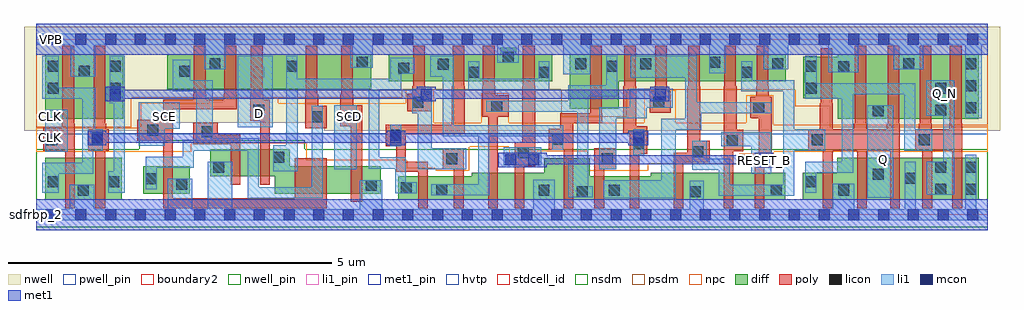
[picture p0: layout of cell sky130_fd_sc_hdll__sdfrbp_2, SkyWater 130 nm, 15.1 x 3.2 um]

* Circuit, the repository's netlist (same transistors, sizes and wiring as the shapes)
* Copyright 2020 The SkyWater PDK Authors
*
* Licensed under the Apache License, Version 2.0 (the "License");
* you may not use this file except in compliance with the License.
* You may obtain a copy of the License at
*
*     https://www.apache.org/licenses/LICENSE-2.0
*
* Unless required by applicable law or agreed to in writing, software
* distributed under the License is distributed on an "AS IS" BASIS,
* WITHOUT WARRANTIES OR CONDITIONS OF ANY KIND, either express or implied.
* See the License for the specific language governing permissions and
* limitations under the License.
*
* SPDX-License-Identifier: Apache-2.0

.SUBCKT sky130_fd_sc_hdll__sdfrbp_2 CLK D RESET_B SCD SCE VGND VNB VPB VPWR Q Q_N
*.PININFO CLK:I D:I RESET_B:I SCD:I SCE:I VGND:I VNB:I VPB:I VPWR:I
*.PININFO Q:O Q_N:O
MI642 clkneg CLK VGND VNB sky130_fd_pr__nfet_01v8 m=1 w=0.65U l=0.15U mult=1 sa=0.265
+ sb=0.265 sd=0.28 area=0.063 perim=1.14
MI636 clkpos clkneg VGND VNB sky130_fd_pr__nfet_01v8 m=1 w=0.65U l=0.15U mult=1
+ sa=0.265 sb=0.265 sd=0.28 area=0.063 perim=1.14
MI42 db clkneg M0 VNB sky130_fd_pr__nfet_01v8 m=1 w=0.36U l=0.15U mult=1 sa=0.265
+ sb=0.265 sd=0.28 area=0.063 perim=1.14
MI656 net92 S0 net134 VNB sky130_fd_pr__nfet_01v8 m=1 w=0.42U l=0.15U mult=1 sa=0.265
+ sb=0.265 sd=0.28 area=0.063 perim=1.14
MI657 net134 RESET_B VGND VNB sky130_fd_pr__nfet_01v8 m=1 w=0.42U l=0.15U mult=1
+ sa=0.265 sb=0.265 sd=0.28 area=0.063 perim=1.14
MI33 net127 RESET_B VGND VNB sky130_fd_pr__nfet_01v8 m=1 w=0.42U l=0.15U mult=1
+ sa=0.265 sb=0.265 sd=0.28 area=0.063 perim=1.14
MI634 sceb SCE VGND VNB sky130_fd_pr__nfet_01v8 m=1 w=0.42U l=0.15U mult=1 sa=0.265
+ sb=0.265 sd=0.28 area=0.063 perim=1.14
MI4 M0 clkpos net115 VNB sky130_fd_pr__nfet_01v8 m=1 w=0.36U l=0.15U mult=1 sa=0.265
+ sb=0.265 sd=0.28 area=0.063 perim=1.14
MI34 net115 M1 net127 VNB sky130_fd_pr__nfet_01v8 m=1 w=0.42U l=0.15U mult=1 sa=0.265
+ sb=0.265 sd=0.28 area=0.063 perim=1.14
MI655 S0 clkneg net103 VNB sky130_fd_pr__nfet_01v8 m=1 w=0.36U l=0.15U mult=1 sa=0.265
+ sb=0.265 sd=0.28 area=0.063 perim=1.14
MI652 Q net92 VGND VNB sky130_fd_pr__nfet_01v8 m=2 w=0.65U l=0.15U mult=1 sa=0.265
+ sb=0.265 sd=0.28 area=0.063 perim=1.14
MI654 net103 net92 VGND VNB sky130_fd_pr__nfet_01v8 m=1 w=0.42U l=0.15U mult=1
+ sa=0.265 sb=0.265 sd=0.28 area=0.063 perim=1.14
MI647 M1 M0 VGND VNB sky130_fd_pr__nfet_01v8 m=1 w=0.64U l=0.15U mult=1 sa=0.265
+ sb=0.265 sd=0.28 area=0.063 perim=1.14
MI649 M1 clkpos S0 VNB sky130_fd_pr__nfet_01v8 m=1 w=0.36U l=0.15U mult=1 sa=0.265
+ sb=0.265 sd=0.28 area=0.063 perim=1.14
MI672 net171 net92 VGND VNB sky130_fd_pr__nfet_01v8 m=1 w=0.42U l=0.15U mult=1
+ sa=0.265 sb=0.265 sd=0.28 area=0.063 perim=1.14
MI670 Q_N net171 VGND VNB sky130_fd_pr__nfet_01v8 m=2 w=0.65U l=0.15U mult=1 sa=0.265
+ sb=0.265 sd=0.28 area=0.063 perim=1.14
MI98 db D n0 VNB sky130_fd_pr__nfet_01v8 m=1 w=0.42U l=0.15U mult=1 sa=0.265 sb=0.265
+ sd=0.28 area=0.525 perim=3.1
MI103 n1 SCD VGND VNB sky130_fd_pr__nfet_01v8 m=1 w=0.42U l=0.18U mult=1 sa=0.265
+ sb=0.265 sd=0.28 area=0.525 perim=3.1
MI120 db SCE n1 VNB sky130_fd_pr__nfet_01v8 m=1 w=0.42U l=0.5U mult=1 sa=0.265
+ sb=0.265 sd=0.28 area=0.525 perim=3.1
MI104 n0 sceb VGND VNB sky130_fd_pr__nfet_01v8 m=1 w=0.42U l=0.15U mult=1 sa=0.265
+ sb=0.265 sd=0.28 area=0.525 perim=3.1
MI643 clkneg CLK VPWR VPB sky130_fd_pr__pfet_01v8_hvt m=1 w=1.0U l=0.18U mult=1
+ sa=0.265 sb=0.265 sd=0.28 area=0.063 perim=1.14
MI635 clkpos clkneg VPWR VPB sky130_fd_pr__pfet_01v8_hvt m=1 w=1.0U l=0.18U mult=1
+ sa=0.265 sb=0.265 sd=0.28 area=0.063 perim=1.14
MI43 db clkpos M0 VPB sky130_fd_pr__pfet_01v8_hvt m=1 w=0.42U l=0.18U mult=1 sa=0.265
+ sb=0.265 sd=0.28 area=0.063 perim=1.14
MI662 net215 net92 VPWR VPB sky130_fd_pr__pfet_01v8_hvt m=1 w=0.42U l=0.18U mult=1
+ sa=0.265 sb=0.265 sd=0.28 area=0.063 perim=1.14
MI659 net92 RESET_B VPWR VPB sky130_fd_pr__pfet_01v8_hvt m=1 w=0.42U l=0.18U mult=1
+ sa=0.265 sb=0.265 sd=0.28 area=0.063 perim=1.14
MI664 S0 clkpos net215 VPB sky130_fd_pr__pfet_01v8_hvt m=1 w=0.42U l=0.18U mult=1
+ sa=0.265 sb=0.265 sd=0.28 area=0.063 perim=1.14
MI658 net92 S0 VPWR VPB sky130_fd_pr__pfet_01v8_hvt m=1 w=0.42U l=0.18U mult=1
+ sa=0.265 sb=0.265 sd=0.28 area=0.063 perim=1.14
MI30 net194 M1 VPWR VPB sky130_fd_pr__pfet_01v8_hvt m=1 w=0.42U l=0.18U mult=1
+ sa=0.265 sb=0.265 sd=0.28 area=0.063 perim=1.14
MI31 M0 clkneg net194 VPB sky130_fd_pr__pfet_01v8_hvt m=1 w=0.42U l=0.18U mult=1
+ sa=0.265 sb=0.265 sd=0.28 area=0.063 perim=1.14
MI32 net194 RESET_B VPWR VPB sky130_fd_pr__pfet_01v8_hvt m=1 w=0.42U l=0.18U mult=1
+ sa=0.265 sb=0.265 sd=0.28 area=0.063 perim=1.14
MI663 Q net92 VPWR VPB sky130_fd_pr__pfet_01v8_hvt m=2 w=1.0U l=0.18U mult=1 sa=0.265
+ sb=0.265 sd=0.28 area=0.063 perim=1.14
MI648 M1 M0 VPWR VPB sky130_fd_pr__pfet_01v8_hvt m=1 w=0.84U l=0.18U mult=1 sa=0.265
+ sb=0.265 sd=0.28 area=0.063 perim=1.14
MI650 M1 clkneg S0 VPB sky130_fd_pr__pfet_01v8_hvt m=1 w=0.42U l=0.18U mult=1 sa=0.265
+ sb=0.265 sd=0.28 area=0.063 perim=1.14
MI633 sceb SCE VPWR VPB sky130_fd_pr__pfet_01v8_hvt m=1 w=0.54U l=0.18U mult=1
+ sa=0.265 sb=0.265 sd=0.28 area=0.063 perim=1.14
MI673 net171 net92 VPWR VPB sky130_fd_pr__pfet_01v8_hvt m=1 w=0.64U l=0.18U mult=1
+ sa=0.265 sb=0.265 sd=0.28 area=0.063 perim=1.14
MI671 Q_N net171 VPWR VPB sky130_fd_pr__pfet_01v8_hvt m=2 w=1.0U l=0.18U mult=1
+ sa=0.265 sb=0.265 sd=0.28 area=0.063 perim=1.14
MI101 db sceb p1 VPB sky130_fd_pr__pfet_01v8_hvt m=1 w=0.54U l=0.18U mult=1 sa=0.265
+ sb=0.265 sd=0.28 area=0.063 perim=1.14
MI107 p0 SCE VPWR VPB sky130_fd_pr__pfet_01v8_hvt m=1 w=0.54U l=0.18U mult=1 sa=0.265
+ sb=0.265 sd=0.28 area=0.063 perim=1.14
MI94 db D p0 VPB sky130_fd_pr__pfet_01v8_hvt m=1 w=0.54U l=0.18U mult=1 sa=0.265
+ sb=0.265 sd=0.28 area=0.063 perim=1.14
MI108 p1 SCD VPWR VPB sky130_fd_pr__pfet_01v8_hvt m=1 w=0.54U l=0.18U mult=1 sa=0.265
+ sb=0.265 sd=0.28 area=0.063 perim=1.14
.ENDS sky130_fd_sc_hdll__sdfrbp_2

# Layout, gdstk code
import gdstk
lib = gdstk.Library(unit=1e-6, precision=1e-09)
def R(c, l, rs):  # rectangles x0, y0, x1, y1
    for r in rs: c.add(gdstk.rectangle(r[:2], r[2:], *l))
def A(c, l, x, y, w, h, nx, ny, dx, dy):  # array of equal rectangles
    R(c, l, [(x+i*dx, y+j*dy, x+i*dx+w, y+j*dy+h) for i in range(nx) for j in range(ny)])
def P(c, l, *ps):  # polygons
    for p in ps: c.add(gdstk.Polygon(p, *l))
nwell_pin = (64, 16)
nwell = (64, 20)
diff = (65, 20)
poly = (66, 20)
licon = (66, 44)
li1_pin = (67, 16)
li1 = (67, 20)
mcon = (67, 44)
met1_pin = (68, 16)
met1 = (68, 20)
hvtp = (78, 44)
stdcell_id = (81, 4)
nsdm = (93, 44)
psdm = (94, 20)
npc = (95, 20)
pwell_pin = (122, 16)
boundary2 = (236, 0)

sky130_fd_sc_hdll__sdfrb = lib.new_cell('sky130_fd_sc_hdll__sdfrbp_2')
R(sky130_fd_sc_hdll__sdfrb, nwell_pin, [(0.17,2.64,0.315,2.78)])
P(sky130_fd_sc_hdll__sdfrb, nwell, [(14.91,2.91),(-0.19,2.91),(-0.19,1.305),(2.12,1.305),(2.12,1.425),(4.455,1.425),(4.455,1.305),(14.91,1.305)])
R(sky130_fd_sc_hdll__sdfrb, diff, [(0.135,0.235,1.325,0.885), (1.655,0.33,2.375,0.75), (0.135,1.485,1.345,2.485), (2.03,1.945,5.185,2.485)])
P(sky130_fd_sc_hdll__sdfrb, diff, [(14.585,2.485),(12.4,2.485),(12.4,2.445),(11.865,2.445),(11.865,1.805),(12.4,1.805),(12.4,1.485),(14.585,1.485)],
  [(11.59,0.655),(9.505,0.655),(9.505,0.595),(8.56,0.595),(8.56,0.875),(7.86,0.875),(7.86,0.655),(6.74,0.655),(6.74,0.595),(5.6,0.595),(5.6,0.235),(11.59,0.235)],
  [(14.585,0.885),(12.395,0.885),(12.395,0.655),(11.86,0.655),(11.86,0.235),(14.585,0.235)],
  [(11.595,2.485),(8.25,2.485),(8.25,1.645),(9.01,1.645),(9.01,2.065),(11.595,2.065)],
  [(5.33,0.75),(3.92,0.75),(3.92,1.015),(2.695,1.015),(2.695,0.595),(3.69,0.595),(3.69,0.33),(5.33,0.33)],
  [(7.98,2.485),(7.425,2.485),(7.425,2.585),(7.175,2.585),(7.175,2.485),(5.455,2.485),(5.455,2.065),(7.98,2.065)])
P(sky130_fd_sc_hdll__sdfrb, poly, [(0.595,1.41),(0.585,1.41),(0.585,2.615),(0.405,2.615),(0.405,1.41),(0.395,1.41),(0.395,1.345),(0.105,1.345),(0.105,0.995),(0.445,0.995),(0.445,0.105),(0.595,0.105)],
  [(1.125,1.325),(1.08,1.325),(1.08,1.41),(1.07,1.41),(1.07,2.615),(0.89,2.615),(0.89,1.41),(0.88,1.41),(0.88,1.325),(0.805,1.325),(0.805,0.995),(0.915,0.995),(0.915,0.105),(1.065,0.105),(1.065,0.995),(1.125,0.995)],
  [(3.155,1.24),(2.81,1.24),(2.81,1.425),(2.43,1.425),(2.43,1.09),(3.005,1.09),(3.005,0.465),(3.155,0.465)],
  [(3.615,1.785),(3.51,1.785),(3.51,1.87),(3.5,1.87),(3.5,2.615),(3.32,2.615),(3.32,1.87),(3.31,1.87),(3.31,1.455),(3.465,1.455),(3.465,0.465),(3.615,0.465)],
  [(4.495,1.69),(4.36,1.69),(4.36,1.87),(4.35,1.87),(4.35,2.615),(4.17,2.615),(4.17,1.87),(4.16,1.87),(4.16,1.34),(4.495,1.34)],
  [(4.495,0.88),(3.995,0.88),(3.995,0.255),(2.115,0.255),(2.115,1.635),(3.1,1.635),(3.1,1.87),(3.09,1.87),(3.09,2.615),(2.91,2.615),(2.91,1.87),(2.9,1.87),(2.9,1.785),(2.63,1.785),(2.63,1.87),(2.62,1.87),(2.62,2.615),(2.44,2.615),(2.44,1.87),(2.43,1.87),(2.43,1.785),(1.965,1.785),(1.965,1.475),(1.56,1.475),(1.56,1.145),(1.965,1.145),(1.965,0.105),(4.495,0.105)],
  [(5.045,1.7),(4.905,1.7),(4.905,1.87),(4.895,1.87),(4.895,2.615),(4.715,2.615),(4.715,1.87),(4.705,1.87),(4.705,1.37),(4.865,1.37),(4.865,0.2),(5.045,0.2)],
  [(6.12,1.875),(6.02,1.875),(6.02,1.99),(6.01,1.99),(6.01,2.615),(5.83,2.615),(5.83,1.99),(5.82,1.99),(5.82,1.875),(5.74,1.875),(5.74,1.605),(6.12,1.605)],
  [(6.61,1.035),(6.29,1.035),(6.29,0.705),(6.46,0.705),(6.46,0.105),(6.61,0.105)],
  [(6.63,1.99),(6.62,1.99),(6.62,2.615),(6.44,2.615),(6.44,1.99),(6.43,1.99),(6.43,1.395),(5.405,1.395),(5.405,1.065),(5.57,1.065),(5.57,0.67),(5.91,0.67),(5.91,0.105),(6.06,0.105),(6.06,0.82),(5.72,0.82),(5.72,1.245),(6.63,1.245)],
  [(7.31,1.855),(7.1,1.855),(7.1,1.99),(7.09,1.99),(7.09,2.615),(6.91,2.615),(6.91,1.99),(6.9,1.99),(6.9,1.515),(6.99,1.515),(6.99,0.105),(7.14,0.105),(7.14,1.515),(7.31,1.515)],
  [(7.72,1.99),(7.71,1.99),(7.71,2.615),(7.53,2.615),(7.53,1.99),(7.52,1.99),(7.52,1.125),(7.4,1.125),(7.4,0.105),(7.55,0.105),(7.55,0.755),(7.72,0.755)],
  [(8.76,1.57),(8.75,1.57),(8.75,2.615),(8.57,2.615),(8.57,1.57),(8.11,1.57),(8.11,1.335),(7.93,1.335),(7.93,1.005),(8.16,1.005),(8.16,0.105),(8.31,0.105),(8.31,1.42),(8.76,1.42)],
  [(8.97,1.035),(8.635,1.035),(8.635,0.105),(8.785,0.105),(8.785,0.705),(8.97,0.705)],
  [(9.455,1.37),(9.285,1.37),(9.285,1.99),(9.275,1.99),(9.275,2.615),(9.095,2.615),(9.095,1.99),(9.085,1.99),(9.085,1.26),(9.18,1.26),(9.18,0.105),(9.33,0.105),(9.33,0.945),(9.455,0.945)],
  [(9.815,1.915),(9.765,1.915),(9.765,1.99),(9.755,1.99),(9.755,2.615),(9.575,2.615),(9.575,1.99),(9.565,1.99),(9.565,1.91),(9.495,1.91),(9.495,1.58),(9.815,1.58)],
  [(10.42,1.145),(10.275,1.145),(10.275,1.99),(10.265,1.99),(10.265,2.615),(10.085,2.615),(10.085,1.99),(10.075,1.99),(10.075,0.965),(9.86,0.965),(9.86,0.105),(10.01,0.105),(10.01,0.815),(10.42,0.815)],
  [(10.94,1.315),(10.835,1.315),(10.835,1.99),(10.825,1.99),(10.825,2.615),(10.645,2.615),(10.645,1.99),(10.635,1.99),(10.635,0.105),(10.785,0.105),(10.785,0.985),(10.94,0.985)],
  [(11.375,1.825),(11.335,1.825),(11.335,1.99),(11.325,1.99),(11.325,2.615),(11.145,2.615),(11.145,1.99),(11.135,1.99),(11.135,1.825),(11.045,1.825),(11.045,1.505),(11.055,1.505),(11.055,1.5),(11.065,1.5),(11.065,1.495),(11.175,1.495),(11.175,0.85),(11.115,0.85),(11.115,0.105),(11.265,0.105),(11.265,0.73),(11.375,0.73)],
  [(13.36,1.41),(13.35,1.41),(13.35,2.615),(13.17,2.615),(13.17,1.41),(13.16,1.41),(13.16,1.325),(12.85,1.325),(12.85,1.41),(12.84,1.41),(12.84,2.615),(12.66,2.615),(12.66,1.41),(12.65,1.41),(12.65,1.325),(12.325,1.325),(12.325,1.73),(12.315,1.73),(12.315,2.575),(12.135,2.575),(12.135,1.73),(12.125,1.73),(12.125,1.325),(11.94,1.325),(11.94,0.995),(12.17,0.995),(12.17,0.105),(12.32,0.105),(12.32,0.995),(12.7,0.995),(12.7,0.105),(12.85,0.105),(12.85,0.995),(13.21,0.995),(13.21,0.105),(13.36,0.105)],
  [(14.325,1.41),(14.315,1.41),(14.315,2.615),(14.135,2.615),(14.135,1.41),(14.125,1.41),(14.125,1.325),(13.855,1.325),(13.855,1.41),(13.845,1.41),(13.845,2.615),(13.665,2.615),(13.665,1.41),(13.655,1.41),(13.655,1.325),(13.6,1.325),(13.6,0.995),(13.71,0.995),(13.71,0.105),(13.86,0.105),(13.86,0.995),(14.175,0.995),(14.175,0.105),(14.325,0.105)])
A(sky130_fd_sc_hdll__sdfrb, licon, 14.375, 1.575, 0.17, 0.17, 1, 3, 0, 0.34)
R(sky130_fd_sc_hdll__sdfrb, licon, [(8.36,0.275,8.53,0.445), (10.11,0.275,10.28,0.445), (0.645,0.295,0.815,0.465), (7.77,0.295,7.94,0.465), (8.86,0.295,9.03,0.465), (11.36,0.295,11.53,0.465), (12.405,0.295,12.575,0.465), (6.19,0.305,6.36,0.475), (13.91,0.315,14.08,0.485), (14.375,0.315,14.545,0.485), (5.64,0.335,5.81,0.505), (5.1,0.37,5.27,0.54), (2.165,0.39,2.335,0.56), (0.175,0.425,0.345,0.595), (1.115,0.425,1.285,0.595), (11.9,0.425,12.07,0.595), (1.695,0.475,1.865,0.645), (13.44,0.48,13.61,0.65), (12.94,0.545,13.11,0.715), (2.735,0.655,2.905,0.825), (13.91,0.655,14.08,0.825), (14.375,0.655,14.545,0.825), (6.34,0.785,6.51,0.955), (8.75,0.785,8.92,0.955), (3.665,0.805,3.835,0.975), (7.45,0.875,7.62,1.045), (10.15,0.895,10.32,1.065), (9.235,1.025,9.405,1.195), (10.685,1.065,10.855,1.235), (0.155,1.075,0.325,1.245), (0.855,1.075,1.025,1.245), (11.995,1.075,12.165,1.245), (13.65,1.075,13.82,1.245), (7.98,1.085,8.15,1.255), (5.48,1.145,5.65,1.315), (2.56,1.205,2.73,1.375), (1.72,1.225,1.89,1.395), (4.265,1.435,4.435,1.605), (4.785,1.45,4.955,1.62), (12.94,1.525,13.11,1.695), (3.36,1.535,3.53,1.705), (13.905,1.535,14.075,1.705), (11.095,1.575,11.265,1.745), (7.04,1.595,7.21,1.765), (5.82,1.655,5.99,1.825), (9.545,1.66,9.715,1.83), (0.175,1.875,0.345,2.045), (1.135,1.875,1.305,2.045), (11.905,1.875,12.075,2.045), (13.905,1.875,14.075,2.045), (6.68,2.125,6.85,2.295), (7.77,2.125,7.94,2.295), (10.91,2.125,11.08,2.295), (0.66,2.135,0.83,2.305), (2.21,2.135,2.38,2.305), (5.6,2.185,5.77,2.355), (12.405,2.205,12.575,2.375), (0.175,2.215,0.345,2.385), (1.135,2.215,1.305,2.385), (3.87,2.215,4.04,2.385), (8.815,2.215,8.985,2.385), (11.905,2.215,12.075,2.385), (6.21,2.245,6.38,2.415), (9.345,2.25,9.515,2.42), (2.68,2.255,2.85,2.425), (8.34,2.255,8.51,2.425), (11.385,2.255,11.555,2.425), (13.41,2.255,13.58,2.425), (4.955,2.275,5.125,2.445), (10.415,2.275,10.585,2.445), (7.215,2.355,7.385,2.525)])
R(sky130_fd_sc_hdll__sdfrb, li1_pin, [(13.025,0.765,13.195,0.935), (0.155,1.105,0.325,1.275), (0.15,1.445,0.32,1.615), (1.955,1.445,2.125,1.615), (3.355,1.445,3.525,1.615), (4.735,1.445,4.915,1.615), (13.945,1.8,14.115,1.97), (3.355,2.125,3.525,2.295)])
R(sky130_fd_sc_hdll__sdfrb, li1, [(12.86,0.265,13.26,1.695), (4.61,0.71,4.955,1.7), (7.23,0.765,7.81,1.045), (9.235,0.92,9.405,1.325), (0.14,0.975,0.49,1.625), (5.48,1.065,5.65,1.395), (3.12,1.355,3.655,2.465)])
P(sky130_fd_sc_hdll__sdfrb, li1, [(11.37,1.275),(10.6,1.275),(10.6,1.065),(11.065,1.065),(11.065,0.635),(11.37,0.635)],
  [(4.435,1.685),(4.265,1.685),(4.265,0.425),(3.445,0.425),(3.445,1.185),(2.73,1.185),(2.73,2.085),(2.38,2.085),(2.38,2.4),(2.11,2.4),(2.11,1.915),(2.475,1.915),(2.475,1.165),(2.265,1.165),(2.265,0.9),(1.695,0.9),(1.695,0.395),(1.865,0.395),(1.865,0.73),(2.435,0.73),(2.435,0.995),(3.275,0.995),(3.275,0.255),(4.435,0.255)],
  [(14.72,2.805),(0,2.805),(0,2.635),(0.53,2.635),(0.53,2.135),(0.91,2.135),(0.91,2.635),(2.6,2.635),(2.6,2.255),(2.93,2.255),(2.93,2.635),(4.855,2.635),(4.855,2.275),(5.205,2.275),(5.205,2.635),(7.135,2.635),(7.135,2.355),(7.465,2.355),(7.465,2.635),(8.15,2.635),(8.15,2.175),(8.57,2.175),(8.57,2.635),(10.415,2.635),(10.415,2.195),(10.665,2.195),(10.665,2.635),(11.255,2.635),(11.255,2.255),(11.635,2.255),(11.635,2.635),(12.255,2.635),(12.255,2.205),(12.715,2.205),(12.715,2.635),(13.27,2.635),(13.27,2.255),(13.725,2.255),(13.725,2.635),(14.375,2.635),(14.375,1.495),(14.625,1.495),(14.625,2.635),(14.72,2.635)],
  [(1.365,2.465),(1.135,2.465),(1.135,1.73),(1.195,1.73),(1.195,0.675),(1.115,0.675),(1.115,0.345),(1.365,0.345)],
  [(12.205,1.325),(11.73,1.325),(11.73,2.085),(11.08,2.085),(11.08,2.375),(10.91,2.375),(10.91,1.915),(11.56,1.915),(11.56,0.465),(10.73,0.465),(10.73,0.865),(10.37,0.865),(10.37,1.145),(10.15,1.145),(10.15,0.695),(10.56,0.695),(10.56,0.295),(11.73,0.295),(11.73,0.995),(12.205,0.995)],
  [(11.37,1.745),(10.215,1.745),(10.215,2.465),(9.195,2.465),(9.195,2.125),(10.04,2.125),(10.04,1.485),(9.67,1.485),(9.67,0.535),(8.78,0.535),(8.78,0.255),(9.89,0.255),(9.89,1.315),(10.285,1.315),(10.285,1.575),(11.37,1.575)],
  [(5.89,0.505),(5.72,0.505),(5.72,0.895),(5.31,0.895),(5.31,1.935),(5.65,1.935),(5.65,2.185),(5.85,2.185),(5.85,2.435),(5.48,2.435),(5.48,2.105),(4.04,2.105),(4.04,2.465),(3.87,2.465),(3.87,1.075),(3.665,1.075),(3.665,0.675),(4.045,0.675),(4.045,1.935),(5.14,1.935),(5.14,0.715),(5.55,0.715),(5.55,0.335),(5.89,0.335)],
  [(6.65,1.035),(6.12,1.035),(6.12,1.955),(5.82,1.955),(5.82,1.575),(5.9,1.575),(5.9,0.705),(6.65,0.705)],
  [(7.94,2.375),(7.77,2.375),(7.77,2.105),(6.85,2.105),(6.85,2.375),(6.68,2.375),(6.68,1.935),(7.94,1.935)],
  [(8.15,1.385),(6.46,1.385),(6.46,2.465),(6.095,2.465),(6.095,2.135),(6.29,2.135),(6.29,1.215),(6.84,1.215),(6.84,0.475),(6.11,0.475),(6.11,0.305),(7.01,0.305),(7.01,1.215),(7.98,1.215),(7.98,1.005),(8.15,1.005)],
  [(8.985,2.465),(8.815,2.465),(8.815,2.005),(8.23,2.005),(8.23,1.765),(6.96,1.765),(6.96,1.595),(8.37,1.595),(8.37,0.835),(8.23,0.835),(8.23,0.275),(8.61,0.275),(8.61,0.445),(8.54,0.445),(8.54,1.835),(8.985,1.835)],
  [(9.845,1.955),(9.185,1.955),(9.185,1.665),(8.71,1.665),(8.71,0.705),(8.97,0.705),(8.97,1.495),(9.445,1.495),(9.445,1.66),(9.845,1.66)],
  [(14.205,2.08),(13.77,2.08),(13.77,1.535),(14.035,1.535),(14.035,0.825),(13.78,0.825),(13.78,0.31),(14.205,0.31)],
  [(13.865,1.325),(13.6,1.325),(13.6,2.035),(12.075,2.035),(12.075,2.465),(11.9,2.465),(11.9,1.795),(12.465,1.795),(12.465,0.825),(11.9,0.825),(11.9,0.345),(12.07,0.345),(12.07,0.655),(12.64,0.655),(12.64,1.865),(13.43,1.865),(13.43,0.995),(13.865,0.995)],
  [(1.99,1.335),(2.22,1.335),(2.22,1.745),(1.585,1.745),(1.585,1.07),(1.99,1.07)],
  [(1.025,1.325),(0.915,1.325),(0.915,1.965),(0.345,1.965),(0.345,2.465),(0.09,2.465),(0.09,1.795),(0.71,1.795),(0.71,0.805),(0.095,0.805),(0.095,0.345),(0.345,0.345),(0.345,0.635),(0.885,0.635),(0.885,0.995),(1.025,0.995)],
  [(14.72,0.085),(14.545,0.085),(14.545,0.93),(14.375,0.93),(14.375,0.085),(13.61,0.085),(13.61,0.825),(13.44,0.825),(13.44,0.085),(12.655,0.085),(12.655,0.485),(12.325,0.485),(12.325,0.085),(10.33,0.085),(10.33,0.525),(10.11,0.525),(10.11,0.085),(8.02,0.085),(8.02,0.545),(7.69,0.545),(7.69,0.085),(5.35,0.085),(5.35,0.54),(5.005,0.54),(5.005,0.085),(3.035,0.085),(3.035,0.825),(2.655,0.825),(2.655,0.085),(2.415,0.085),(2.415,0.56),(2.035,0.56),(2.035,0.085),(0.895,0.085),(0.895,0.465),(0.515,0.465),(0.515,0.085),(0,0.085),(0,-0.085),(14.72,-0.085)])
A(sky130_fd_sc_hdll__sdfrb, mcon, 0.145, -0.085, 0.17, 0.17, 32, 2, 0.46, 2.72)
R(sky130_fd_sc_hdll__sdfrb, mcon, [(7.255,0.765,7.425,0.935), (7.615,0.765,7.785,0.935), (11.175,0.765,11.345,0.935), (0.855,1.105,1.025,1.275), (5.48,1.105,5.65,1.275), (9.235,1.105,9.405,1.275), (1.135,1.785,1.305,1.955), (5.95,1.785,6.12,1.955), (9.565,1.785,9.735,1.955)])
R(sky130_fd_sc_hdll__sdfrb, met1_pin, [(0.195,-0.05,0.285,0.035), (11.185,0.765,11.355,0.935), (0.155,2.67,0.315,2.77)])
R(sky130_fd_sc_hdll__sdfrb, met1, [(0,-0.24,14.72,0.24), (0,2.48,14.72,2.96)])
P(sky130_fd_sc_hdll__sdfrb, met1, [(11.405,0.965),(11.115,0.965),(11.115,0.92),(7.9,0.92),(7.9,0.965),(7.145,0.965),(7.145,0.735),(7.9,0.735),(7.9,0.78),(11.115,0.78),(11.115,0.735),(11.405,0.735)],
  [(9.795,1.985),(9.5,1.985),(9.5,1.94),(6.18,1.94),(6.18,1.985),(5.89,1.985),(5.89,1.94),(1.37,1.94),(1.37,1.985),(1.07,1.985),(1.07,1.755),(1.37,1.755),(1.37,1.8),(5.89,1.8),(5.89,1.755),(6.18,1.755),(6.18,1.8),(9.5,1.8),(9.5,1.755),(9.795,1.755)],
  [(9.465,1.305),(9.155,1.305),(9.155,1.26),(5.71,1.26),(5.71,1.305),(5.42,1.305),(5.42,1.26),(1.085,1.26),(1.085,1.305),(0.795,1.305),(0.795,1.075),(1.085,1.075),(1.085,1.12),(5.42,1.12),(5.42,1.075),(5.71,1.075),(5.71,1.12),(9.155,1.12),(9.155,1.075),(9.465,1.075)])
R(sky130_fd_sc_hdll__sdfrb, hvtp, [(0,1.25,14.72,2.72)])
R(sky130_fd_sc_hdll__sdfrb, stdcell_id, [(0,0,14.72,2.72)])
P(sky130_fd_sc_hdll__sdfrb, nsdm, [(14.72,1.015),(4.155,1.015),(4.155,1.155),(1.59,1.155),(1.59,1.015),(0,1.015),(0,-0.19),(14.72,-0.19)])
P(sky130_fd_sc_hdll__sdfrb, psdm, [(14.72,2.91),(0,2.91),(0,1.355),(1.47,1.355),(1.47,1.815),(5.66,1.815),(5.66,1.935),(8.125,1.935),(8.125,1.515),(9.135,1.515),(9.135,1.94),(11.74,1.94),(11.74,1.68),(12.275,1.68),(12.275,1.36),(14.72,1.36)])
P(sky130_fd_sc_hdll__sdfrb, npc, [(14.72,1.395),(11.4,1.395),(11.4,1.85),(10.985,1.85),(10.985,1.425),(9.895,1.425),(9.895,1.93),(9.405,1.93),(9.405,1.425),(7.31,1.425),(7.31,1.88),(6.885,1.88),(6.885,1.425),(6.15,1.425),(6.15,1.935),(5.72,1.935),(5.72,1.725),(3.74,1.725),(3.74,1.81),(2.675,1.81),(2.675,1.725),(1.62,1.725),(1.62,1.35),(0,1.35),(0,0.975),(2.4,0.975),(2.4,1.105),(4.18,1.105),(4.18,0.845),(5.735,0.845),(5.735,0.72),(6.18,0.72),(6.18,0.685),(6.7,0.685),(6.7,1.055),(7.315,1.055),(7.315,0.775),(7.745,0.775),(7.745,0.985),(8.525,0.985),(8.525,0.685),(9.47,0.685),(9.47,0.795),(10.87,0.795),(10.87,0.94),(11.41,0.94),(11.41,0.975),(14.72,0.975)])
R(sky130_fd_sc_hdll__sdfrb, pwell_pin, [(0.215,-0.01,0.235,0.015)])
R(sky130_fd_sc_hdll__sdfrb, boundary2, [(0,0,14.72,2.72)])
sky130_fd_sc_hdll__sdfrb.add(gdstk.Label('sdfrbp_2', (0,0), layer=83, texttype=44))
sky130_fd_sc_hdll__sdfrb.add(gdstk.Label('VPB', (0.23,2.72), layer=64, texttype=5))
sky130_fd_sc_hdll__sdfrb.add(gdstk.Label('VNB', (0.23,0), layer=64, texttype=59))
sky130_fd_sc_hdll__sdfrb.add(gdstk.Label('VPWR', (0.23,2.72), layer=68, texttype=5))
sky130_fd_sc_hdll__sdfrb.add(gdstk.Label('VGND', (0.23,0), layer=68, texttype=5))
sky130_fd_sc_hdll__sdfrb.add(gdstk.Label('RESET_B', (11.27,0.845), layer=68, texttype=5))
sky130_fd_sc_hdll__sdfrb.add(gdstk.Label('Q_N', (14.045,1.88), layer=67, texttype=5))
sky130_fd_sc_hdll__sdfrb.add(gdstk.Label('Q', (13.115,0.86), layer=67, texttype=5))
sky130_fd_sc_hdll__sdfrb.add(gdstk.Label('SCD', (4.845,1.53), layer=67, texttype=5))
sky130_fd_sc_hdll__sdfrb.add(gdstk.Label('SCE', (1.985,1.53), layer=67, texttype=5))
sky130_fd_sc_hdll__sdfrb.add(gdstk.Label('CLK', (0.225,1.53), layer=67, texttype=5))
sky130_fd_sc_hdll__sdfrb.add(gdstk.Label('CLK', (0.215,1.19), layer=67, texttype=5))
sky130_fd_sc_hdll__sdfrb.add(gdstk.Label('D', (3.45,1.57), layer=67, texttype=5))

lib.write_gds('sky130_fd_sc_hdll__sdfrbp_2.gds')
